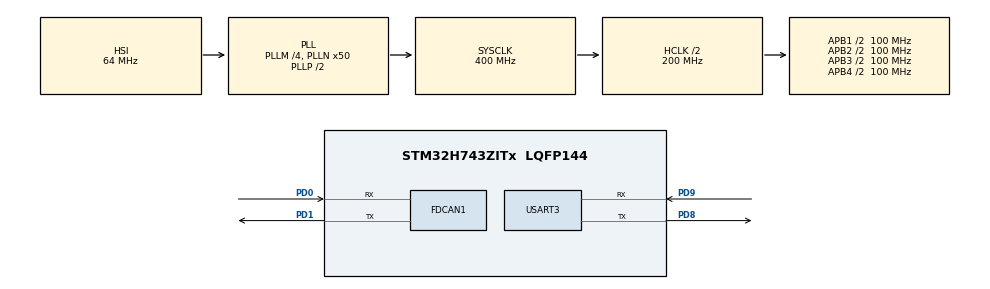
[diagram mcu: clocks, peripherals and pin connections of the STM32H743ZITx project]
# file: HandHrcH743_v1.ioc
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CORTEX_M7.default_mode_Activation=1
FDCAN1.AutoRetransmission=ENABLE
FDCAN1.CalculateBaudRateNominal=1000000
FDCAN1.CalculateTimeBitNominal=1000
FDCAN1.CalculateTimeQuantumNominal=50.0
FDCAN1.DataPrescaler=2
FDCAN1.DataSyncJumpWidth=2
FDCAN1.DataTimeSeg1=7
FDCAN1.DataTimeSeg2=2
FDCAN1.FrameFormat=FDCAN_FRAME_FD_BRS
FDCAN1.NominalPrescaler=5
FDCAN1.NominalSyncJumpWidth=2
FDCAN1.NominalTimeSeg1=13
FDCAN1.NominalTimeSeg2=6
FDCAN1.RxFifo0ElmtSize=FDCAN_DATA_BYTES_48
FDCAN1.RxFifo0ElmtsNbr=4
FDCAN1.RxFifo1ElmtSize=FDCAN_DATA_BYTES_8
FDCAN1.StdFiltersNbr=1
FDCAN1.TxElmtSize=FDCAN_DATA_BYTES_48
FDCAN1.TxFifoQueueElmtsNbr=4
Mcu.Family=STM32H7
Mcu.Name=STM32H743ZITx
Mcu.Package=LQFP144
NVIC.FDCAN1_IT0_IRQn=true\:0\:0\:false\:false\:true\:true\:true\:true
NVIC.PriorityGroup=NVIC_PRIORITYGROUP_4
NVIC.TIM6_DAC_IRQn=true\:0\:0\:false\:false\:true\:true\:true\:true
PD0.Mode=FDCAN_Activate
PD0.Signal=FDCAN1_RX
PD1.Mode=FDCAN_Activate
PD1.Signal=FDCAN1_TX
PD8.Mode=Asynchronous
PD8.Signal=USART3_TX
PD9.Mode=Asynchronous
PD9.Signal=USART3_RX
ProjectManager.HeapSize=0x200
ProjectManager.StackSize=0x400
ProjectManager.TargetToolchain=STM32CubeIDE
RCC.ADCFreq_Value=129000000
RCC.APB1Freq_Value=100000000
RCC.APB2Freq_Value=100000000
RCC.APB3Freq_Value=100000000
RCC.APB4Freq_Value=100000000
RCC.CortexFreq_Value=400000000
RCC.D1PPRE=RCC_APB3_DIV2
RCC.D2PPRE1=RCC_APB1_DIV2
RCC.D2PPRE2=RCC_APB2_DIV2
RCC.D3PPRE=RCC_APB4_DIV2
RCC.DATA_CACHE_ENABLE=1
RCC.DIVM1=4
RCC.DIVN1=50
RCC.DIVQ1=8
RCC.HCLKFreq_Value=200000000
RCC.HPRE=RCC_HCLK_DIV2
RCC.INSTRUCTION_CACHE_ENABLE=1
RCC.PLL1_VCI_Range=RCC_PLL1VCIRANGE_3
RCC.PLL2FRACN=0
RCC.PLL3FRACN=0
RCC.PLLFRACN=0
RCC.PREFETCH_ENABLE=1
RCC.PWREXT_OverDrive=PWREXT_OverDrive_DESACTIVATED
RCC.SYSCLKFreq_VALUE=400000000
RCC.SYSCLKSource=RCC_SYSCLKSOURCE_PLLCLK
RCC.USBFreq_Value=100000000
TIM6.Period=9
TIM6.Prescaler=19999
USART3.VirtualMode-Asynchronous=VM_ASYNC
VP_MEMORYMAP_VS_MEMORYMAP.Mode=CurAppReg
VP_TIM6_VS_ClockSourceINT.Mode=Enable_Timer
board=custom

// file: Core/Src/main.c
/* USER CODE BEGIN Header */
/**
  ******************************************************************************
  * @file           : main.c
  * @brief          : Main program body
  ******************************************************************************
  * @attention
  *
  * Copyright (c) 2026 STMicroelectronics.
  * All rights reserved.
  *
  * This software is licensed under terms that can be found in the LICENSE file
  * in the root directory of this software component.
  * If no LICENSE file comes with this software, it is provided AS-IS.
  *
  ******************************************************************************
  */
/* USER CODE END Header */
#include "main.h"

/* USER CODE BEGIN Includes */
#include <string.h>
#include <stdio.h>

#include "canfd_utils.h"

/* USER CODE END Includes */

FDCAN_HandleTypeDef hfdcan1;

TIM_HandleTypeDef htim6;

UART_HandleTypeDef huart3;

/* USER CODE BEGIN PV */
static uint32_t s_tx_counter = 0;
static uint32_t s_last_rx_print_ms = 0;
static uint32_t s_last_stats_ms = 0;

/* USER CODE END PV */

void SystemClock_Config(void);
static void MPU_Config(void);
static void MX_GPIO_Init(void);
static void MX_FDCAN1_Init(void);
static void MX_TIM6_Init(void);
static void MX_USART3_UART_Init(void);

int main(void)
{

  /* MPU Configuration--------------------------------------------------------*/
  MPU_Config();

  /* MCU Configuration--------------------------------------------------------*/

  /* Reset of all peripherals, Initializes the Flash interface and the Systick. */
  HAL_Init();

  /* Configure the system clock */
  SystemClock_Config();

  /* Initialize all configured peripherals */
  MX_GPIO_Init();
  MX_FDCAN1_Init();
  MX_TIM6_Init();
  MX_USART3_UART_Init();
  /* USER CODE BEGIN 2 */
  printf("Hello World\r\n");
  if (!CANFD_Utils_Init(&hfdcan1))
  {
    Error_Handler();
  }

  if (HAL_TIM_Base_Start_IT(&htim6) != HAL_OK)
  {
    Error_Handler();
  }

  // One-time CAN-FD health print (after FDCAN is started).
  {
    FDCAN_ProtocolStatusTypeDef ps;
    FDCAN_ErrorCountersTypeDef ec;
    memset(&ps, 0, sizeof(ps));
    memset(&ec, 0, sizeof(ec));
    if ((HAL_FDCAN_GetProtocolStatus(&hfdcan1, &ps) == HAL_OK) &&
        (HAL_FDCAN_GetErrorCounters(&hfdcan1, &ec) == HAL_OK))
    {
      printf("v1 CAN(init): BO=%lu W=%lu EP=%lu ACT=%lu LEC=%lu DLEC=%lu TEC=%lu REC=%lu\r\n",
             (unsigned long)ps.BusOff,
             (unsigned long)ps.Warning,
             (unsigned long)ps.ErrorPassive,
             (unsigned long)ps.Activity,
             (unsigned long)ps.LastErrorCode,
             (unsigned long)ps.DataLastErrorCode,
             (unsigned long)ec.TxErrorCnt,
             (unsigned long)ec.RxErrorCnt);
    }
    else
    {
      printf("v1 CAN(init): status read failed\r\n");
    }
  }

  /* USER CODE END 2 */

  /* Infinite loop */
  while (1)
  {

    /* USER CODE BEGIN 3 */
    // NOTE: Do not spam UART prints in the main loop; it can drown out CAN RX prints
    // and distort timing. Keep prints event-driven (e.g., on RX or periodic heartbeat).

    if (CANFD_Utils_Consume1kHzTick())
    {
      // Send motor status for 15 motors each tick (motor_id 0..14), 1000 Hz.
      for (uint32_t motor_id = 0; motor_id < NUM_MOTORS; motor_id++)
      {
        Motor_TxPDO_t pdo = {0};
        pdo.motor_id = motor_id;
        // Dummy payload for bring-up; replace with real motor state later.
        pdo.present_id = (float)motor_id;
        pdo.present_iq = (float)((s_tx_counter + motor_id) % 1000U) * 0.01f;
        pdo.present_velocity = 12.34f;
        pdo.present_position = 56.78f;
        pdo.input_voltage = 24.0f;
        pdo.winding_temp = 40.0f;
        pdo.powerstage_temp = 42.0f;
        pdo.ic_temperature = 45.0f;
        pdo.error_status = 0.0f;

        (void)CANFD_Utils_SendMotorTxPDO(&hfdcan1, 0x200U + motor_id, &pdo);
      }
      s_tx_counter++;
    }

    // RX is handled in the interrupt: it updates g_robot_output.motor[motor_id] directly.
    // Optional debug print: show command values at a low rate.
    uint32_t now_ms = HAL_GetTick();
    if ((uint32_t)(now_ms - s_last_rx_print_ms) >= 200U) // 5 Hz
    {
      s_last_rx_print_ms = now_ms;
      const Motor_RxPDO_t cmd0 = g_robot_output.motor[0];
      union { float f; uint32_t u; } giq;
      giq.f = cmd0.goal_iq;
      printf("v1 CMD[0]: TE=%lu goal_iq_bits=0x%08lX\r\n",
             (unsigned long)cmd0.torque_enable,
             (unsigned long)giq.u);
    }

    // 1 Hz RX stats: how many frames we received in the last second.
    if ((uint32_t)(now_ms - s_last_stats_ms) >= 1000U)
    {
      s_last_stats_ms = now_ms;

      __disable_irq();
      uint32_t rx_total = g_rx_frames_total; g_rx_frames_total = 0;
      uint32_t rx_rxpdo = g_rx_frames_rxpdo; g_rx_frames_rxpdo = 0;
      uint32_t rx_other = g_rx_frames_other; g_rx_frames_other = 0;
      __enable_irq();

      printf("v1 RX/s: total=%lu rxpdo=%lu other=%lu\r\n",
             (unsigned long)rx_total,
             (unsigned long)rx_rxpdo,
             (unsigned long)rx_other);
    }
  }
  /* USER CODE END 3 */
}

void SystemClock_Config(void)
{
  RCC_OscInitTypeDef RCC_OscInitStruct = {0};
  RCC_ClkInitTypeDef RCC_ClkInitStruct = {0};

  /** Supply configuration update enable
  */
  HAL_PWREx_ConfigSupply(PWR_LDO_SUPPLY);

  /** Configure the main internal regulator output voltage
  */
  __HAL_PWR_VOLTAGESCALING_CONFIG(PWR_REGULATOR_VOLTAGE_SCALE1);

  while(!__HAL_PWR_GET_FLAG(PWR_FLAG_VOSRDY)) {}

  /** Initializes the RCC Oscillators according to the specified parameters
  * in the RCC_OscInitTypeDef structure.
  */
  RCC_OscInitStruct.OscillatorType = RCC_OSCILLATORTYPE_HSI;
  RCC_OscInitStruct.HSIState = RCC_HSI_DIV1;
  RCC_OscInitStruct.HSICalibrationValue = RCC_HSICALIBRATION_DEFAULT;
  RCC_OscInitStruct.PLL.PLLState = RCC_PLL_ON;
  RCC_OscInitStruct.PLL.PLLSource = RCC_PLLSOURCE_HSI;
  RCC_OscInitStruct.PLL.PLLM = 4;
  RCC_OscInitStruct.PLL.PLLN = 50;
  RCC_OscInitStruct.PLL.PLLP = 2;
  RCC_OscInitStruct.PLL.PLLQ = 8;
  RCC_OscInitStruct.PLL.PLLR = 2;
  RCC_OscInitStruct.PLL.PLLRGE = RCC_PLL1VCIRANGE_3;
  RCC_OscInitStruct.PLL.PLLVCOSEL = RCC_PLL1VCOWIDE;
  RCC_OscInitStruct.PLL.PLLFRACN = 0;
  if (HAL_RCC_OscConfig(&RCC_OscInitStruct) != HAL_OK)
  {
    Error_Handler();
  }

  /** Initializes the CPU, AHB and APB buses clocks
  */
  RCC_ClkInitStruct.ClockType = RCC_CLOCKTYPE_HCLK|RCC_CLOCKTYPE_SYSCLK
                              |RCC_CLOCKTYPE_PCLK1|RCC_CLOCKTYPE_PCLK2
                              |RCC_CLOCKTYPE_D3PCLK1|RCC_CLOCKTYPE_D1PCLK1;
  RCC_ClkInitStruct.SYSCLKSource = RCC_SYSCLKSOURCE_PLLCLK;
  RCC_ClkInitStruct.SYSCLKDivider = RCC_SYSCLK_DIV1;
  RCC_ClkInitStruct.AHBCLKDivider = RCC_HCLK_DIV2;
  RCC_ClkInitStruct.APB3CLKDivider = RCC_APB3_DIV2;
  RCC_ClkInitStruct.APB1CLKDivider = RCC_APB1_DIV2;
  RCC_ClkInitStruct.APB2CLKDivider = RCC_APB2_DIV2;
  RCC_ClkInitStruct.APB4CLKDivider = RCC_APB4_DIV2;

  if (HAL_RCC_ClockConfig(&RCC_ClkInitStruct, FLASH_LATENCY_2) != HAL_OK)
  {
    Error_Handler();
  }
}

static void MX_FDCAN1_Init(void)
{

  hfdcan1.Instance = FDCAN1;
  hfdcan1.Init.FrameFormat = FDCAN_FRAME_FD_BRS;
  hfdcan1.Init.Mode = FDCAN_MODE_NORMAL;
  hfdcan1.Init.AutoRetransmission = ENABLE;
  hfdcan1.Init.TransmitPause = DISABLE;
  hfdcan1.Init.ProtocolException = DISABLE;
  hfdcan1.Init.NominalPrescaler = 5;
  hfdcan1.Init.NominalSyncJumpWidth = 2;
  hfdcan1.Init.NominalTimeSeg1 = 13;
  hfdcan1.Init.NominalTimeSeg2 = 6;
  hfdcan1.Init.DataPrescaler = 2;
  hfdcan1.Init.DataSyncJumpWidth = 2;
  hfdcan1.Init.DataTimeSeg1 = 7;
  hfdcan1.Init.DataTimeSeg2 = 2;
  hfdcan1.Init.MessageRAMOffset = 0;
  hfdcan1.Init.StdFiltersNbr = 1;
  hfdcan1.Init.ExtFiltersNbr = 0;
  hfdcan1.Init.RxFifo0ElmtsNbr = 4;
  hfdcan1.Init.RxFifo0ElmtSize = FDCAN_DATA_BYTES_48;
  hfdcan1.Init.RxFifo1ElmtsNbr = 0;
  hfdcan1.Init.RxFifo1ElmtSize = FDCAN_DATA_BYTES_8;
  hfdcan1.Init.RxBuffersNbr = 0;
  hfdcan1.Init.RxBufferSize = FDCAN_DATA_BYTES_8;
  hfdcan1.Init.TxEventsNbr = 0;
  hfdcan1.Init.TxBuffersNbr = 0;
  hfdcan1.Init.TxFifoQueueElmtsNbr = 4;
  hfdcan1.Init.TxFifoQueueMode = FDCAN_TX_FIFO_OPERATION;
  hfdcan1.Init.TxElmtSize = FDCAN_DATA_BYTES_48;
  if (HAL_FDCAN_Init(&hfdcan1) != HAL_OK)
  {
    Error_Handler();
  }

}

static void MX_TIM6_Init(void)
{

  TIM_MasterConfigTypeDef sMasterConfig = {0};

  htim6.Instance = TIM6;
  htim6.Init.Prescaler = 19999;
  htim6.Init.CounterMode = TIM_COUNTERMODE_UP;
  htim6.Init.Period = 9;
  htim6.Init.AutoReloadPreload = TIM_AUTORELOAD_PRELOAD_DISABLE;
  if (HAL_TIM_Base_Init(&htim6) != HAL_OK)
  {
    Error_Handler();
  }
  sMasterConfig.MasterOutputTrigger = TIM_TRGO_RESET;
  sMasterConfig.MasterSlaveMode = TIM_MASTERSLAVEMODE_DISABLE;
  if (HAL_TIMEx_MasterConfigSynchronization(&htim6, &sMasterConfig) != HAL_OK)
  {
    Error_Handler();
  }

}

static void MX_USART3_UART_Init(void)
{

  huart3.Instance = USART3;
  huart3.Init.BaudRate = 115200;
  huart3.Init.WordLength = UART_WORDLENGTH_8B;
  huart3.Init.StopBits = UART_STOPBITS_1;
  huart3.Init.Parity = UART_PARITY_NONE;
  huart3.Init.Mode = UART_MODE_TX_RX;
  huart3.Init.HwFlowCtl = UART_HWCONTROL_NONE;
  huart3.Init.OverSampling = UART_OVERSAMPLING_16;
  huart3.Init.OneBitSampling = UART_ONE_BIT_SAMPLE_DISABLE;
  huart3.Init.ClockPrescaler = UART_PRESCALER_DIV1;
  huart3.AdvancedInit.AdvFeatureInit = UART_ADVFEATURE_NO_INIT;
  if (HAL_UART_Init(&huart3) != HAL_OK)
  {
    Error_Handler();
  }
  if (HAL_UARTEx_SetTxFifoThreshold(&huart3, UART_TXFIFO_THRESHOLD_1_8) != HAL_OK)
  {
    Error_Handler();
  }
  if (HAL_UARTEx_SetRxFifoThreshold(&huart3, UART_RXFIFO_THRESHOLD_1_8) != HAL_OK)
  {
    Error_Handler();
  }
  if (HAL_UARTEx_DisableFifoMode(&huart3) != HAL_OK)
  {
    Error_Handler();
  }

}

static void MX_GPIO_Init(void)
{

  /* GPIO Ports Clock Enable */
  __HAL_RCC_GPIOD_CLK_ENABLE();

}

/* USER CODE BEGIN 4 */
void HAL_TIM_PeriodElapsedCallback(TIM_HandleTypeDef *htim)
{
  if (htim->Instance == TIM6)
  {
    CANFD_Utils_On1kHzTickISR();
  }
}

/* USER CODE END 4 */

 /* MPU Configuration */

void MPU_Config(void)
{
  MPU_Region_InitTypeDef MPU_InitStruct = {0};

  /* Disables the MPU */
  HAL_MPU_Disable();

  /** Initializes and configures the Region and the memory to be protected
  */
  MPU_InitStruct.Enable = MPU_REGION_ENABLE;
  MPU_InitStruct.Number = MPU_REGION_NUMBER0;
  MPU_InitStruct.BaseAddress = 0x0;
  MPU_InitStruct.Size = MPU_REGION_SIZE_4GB;
  MPU_InitStruct.SubRegionDisable = 0x87;
  MPU_InitStruct.TypeExtField = MPU_TEX_LEVEL0;
  MPU_InitStruct.AccessPermission = MPU_REGION_NO_ACCESS;
  MPU_InitStruct.DisableExec = MPU_INSTRUCTION_ACCESS_DISABLE;
  MPU_InitStruct.IsShareable = MPU_ACCESS_SHAREABLE;
  MPU_InitStruct.IsCacheable = MPU_ACCESS_NOT_CACHEABLE;
  MPU_InitStruct.IsBufferable = MPU_ACCESS_NOT_BUFFERABLE;

  HAL_MPU_ConfigRegion(&MPU_InitStruct);
  /* Enables the MPU */
  HAL_MPU_Enable(MPU_PRIVILEGED_DEFAULT);

}

void Error_Handler(void)
{
  __disable_irq();
  while (1)
  {
  }
}
